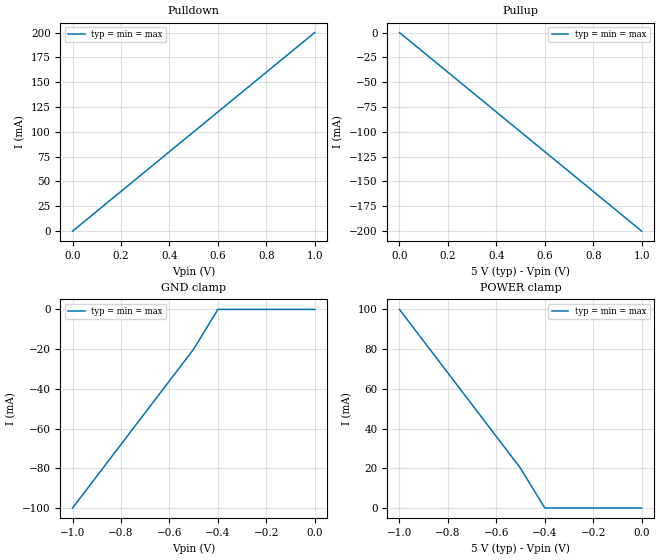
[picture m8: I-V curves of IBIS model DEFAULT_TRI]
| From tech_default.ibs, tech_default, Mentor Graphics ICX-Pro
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[Model]		DEFAULT_TRI
Model_type	3-state
Polarity	Non-Inverting
Enable		Active-High
Vmeas = 2.500000V
Cref = 50.000000pF
Vref = 0.0V
Rref = 0.500000k
|		typ		min		max
C_comp		5.500000pF		2.000000pF		8.000000pF
|			typ		min		max
[voltage range]	5.000000V		4.500000V		5.500000V
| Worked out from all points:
|   slope of the pulldown table from 0 to 0.75 V, typ, clamps not added: 5 ohm
|   slope of the pullup table from 0 to 0.75 V, typ, clamps not added: 5 ohm
|   GND clamp passes 1 mA (typ) near -0.41 V on its own axis
|   POWER clamp passes 1 mA (typ) near -0.41 V on its own axis
[Pulldown]
|	Voltage		I(typ)		I(min)		I(max)
0V        0A         0A         0A
1V        200mA      200mA      200mA
[Pullup]
|	Voltage		I(typ)		I(min)		I(max)
0V        0A         0A         0A
1V        -200mA     -200mA     -200mA
[Gnd Clamp]
|	Voltage		I(typ)		I(min)		I(max)
-1V       -100mA     -100mA     -100mA
-500mV    -20mA      -20mA      -20mA
-400mV    0A         0A         0A
0V        0A         0A         0A
[Power Clamp]
|	Voltage		I(typ)		I(min)		I(max)
-1V       100mA      100mA      100mA
-500mV    20mA       20mA       20mA
-400mV    0A         0A         0A
0V        0A         0A         0A
[Ramp]
|  variable	typ		min		max
dV/dt_r		5/0.100000ns	5/0.100000ns	5/0.100000ns
dV/dt_f		5/0.100000ns	5/0.100000ns	5/0.100000ns
R_load = 	50Ohms
